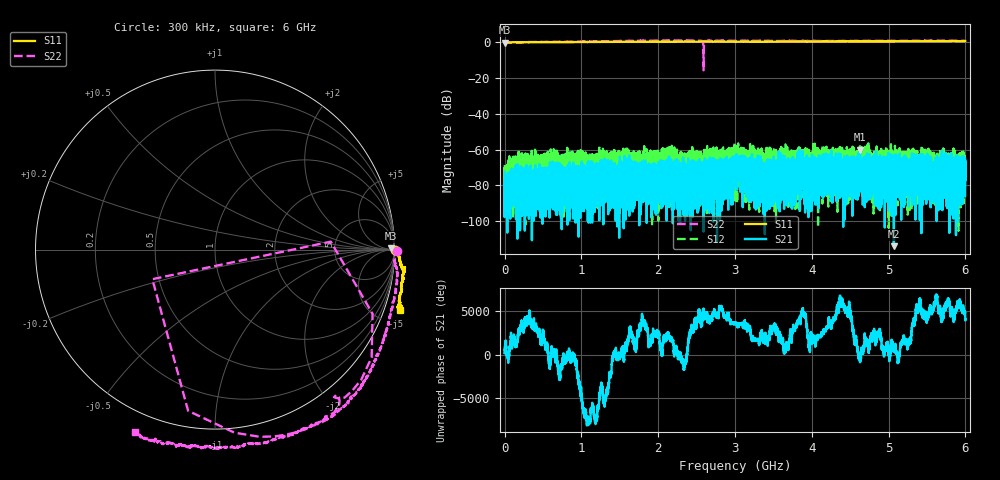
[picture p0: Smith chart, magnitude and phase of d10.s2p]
!Agilent Technologies,N5230C,SG49000117,A.08.50.07
!Agilent N5230C: A.08.50.07
!Date: Thursday, May 16, 2024 21:18:36
!Correction: S11(Full 2 Port(1,2))
!S21(Full 2 Port(1,2))
!S12(Full 2 Port(1,2))
!S22(Full 2 Port(1,2))
!S2P File: Measurements: S11, S21, S12, S22:
# Hz S  MA  R 50
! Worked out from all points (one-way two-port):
!   20001 points, 300 kHz to 6 GHz, reference 50 ohm
!   highest |S21| = -59.92 dB at 4.628 GHz (marker M1); lowest = -114.0 dB at 5.069 GHz (marker M2)
!   lowest |S11| = -0.2 dB at 600 kHz (marker M3), VSWR 109.26, Z = 4.65e+03 + j1.94e+03 ohm
!   |S11| at or under -10 dB: nowhere
!   |S22| runs from -15.6 to 1.1 dB; largest |S21 - S12| = 0.002
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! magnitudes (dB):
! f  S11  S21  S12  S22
! 300 kHz  0.0  -72.5  -74.7  0.1
! 600 kHz  -0.2  -84.8  -76.2  -0.3
! 30.6 MHz  0.0  -77.9  -76.4  0.0
! 202.8 MHz  0.1  -72.1  -66.1  0.1
! 1 GHz  0.2  -73.7  -69.6  0.5
! 2 GHz  0.5  -75.0  -71.5  1.0
! 2.148 GHz  0.5  -68.8  -75.9  1.0
! 2.262 GHz  0.5  -76.1  -74.8  1.1
! 2.678 GHz  0.5  -73.3  -65.3  1.0
! 3 GHz  0.5  -64.3  -82.0  0.9
! 3.381 GHz  0.5  -69.0  -66.9  0.9
! 3.624 GHz  0.5  -73.5  -72.1  0.9
! 4 GHz  0.5  -70.3  -64.9  0.9
! 4.188 GHz  0.6  -67.1  -69.3  0.8
! 4.457 GHz  0.7  -70.2  -64.6  0.8
! 4.628 GHz  0.7  -59.9  -66.5  0.9
! 5 GHz  0.7  -66.5  -95.0  0.9
! 5.069 GHz  0.7  -114.0  -71.0  0.9
! 5.262 GHz  0.7  -69.6  -82.8  1.0
! 5.442 GHz  0.7  -75.9  -64.5  1.0
! 5.587 GHz  0.7  -71.0  -78.8  1.0
! 6 GHz  0.7  -71.8  -68.5  0.9
